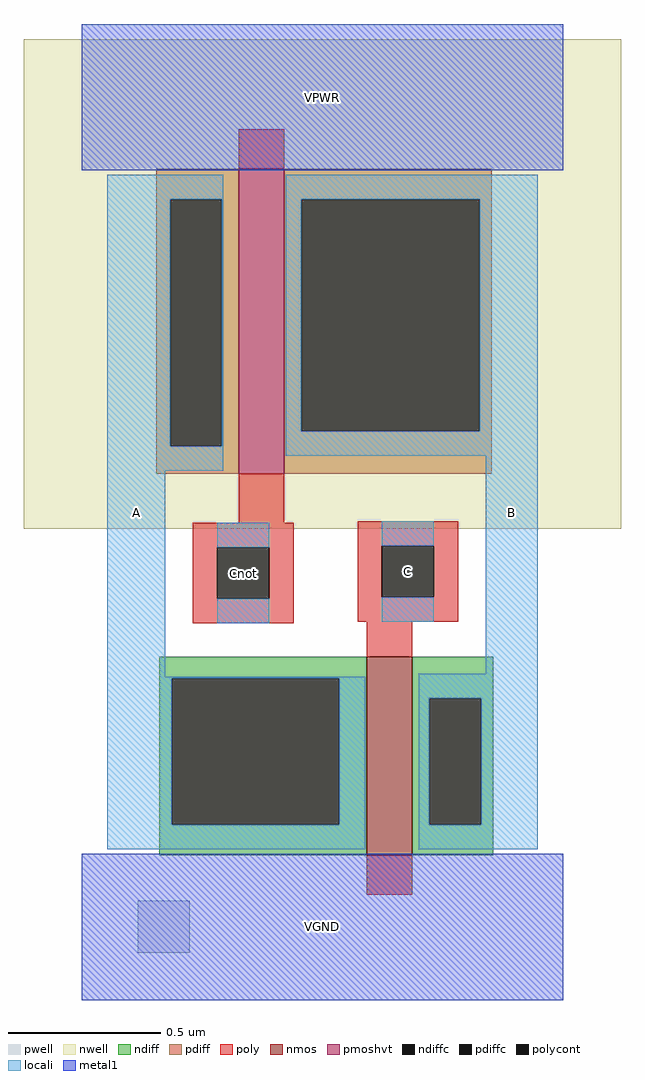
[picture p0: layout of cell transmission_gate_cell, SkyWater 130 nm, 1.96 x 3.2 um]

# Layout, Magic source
magic
tech sky130A
magscale 1 2
<< nwell >>
rect -60 261 332 582
<< pwell >>
rect 15 -17 49 17
<< nmos >>
rect 165 47 195 177
<< pmoshvt >>
rect 81 297 111 497
<< ndiff >>
rect 29 163 165 177
rect 29 67 37 163
rect 147 67 165 163
rect 29 47 165 67
rect 195 150 248 177
rect 195 67 206 150
rect 240 67 248 150
rect 195 47 248 67
<< pdiff >>
rect 27 477 81 497
rect 27 315 36 477
rect 70 315 81 477
rect 27 297 81 315
rect 111 477 247 497
rect 111 325 122 477
rect 239 325 247 477
rect 111 297 247 325
<< ndiffc >>
rect 37 67 147 163
rect 206 67 240 150
<< pdiffc >>
rect 36 315 70 477
rect 122 325 239 477
<< poly >>
rect 81 497 111 523
rect 81 265 111 297
rect 51 249 117 265
rect 51 215 67 249
rect 101 215 117 249
rect 51 199 117 215
rect 159 250 225 266
rect 159 216 175 250
rect 209 216 225 250
rect 159 200 225 216
rect 165 177 195 200
rect 165 21 195 47
<< polycont >>
rect 67 215 101 249
rect 175 216 209 250
<< locali >>
rect -5 477 71 493
rect -5 315 36 477
rect 70 315 71 477
rect -5 299 71 315
rect 112 477 277 493
rect 112 325 122 477
rect 239 325 277 477
rect 112 309 277 325
rect -5 164 33 299
rect 67 249 101 265
rect 67 199 101 215
rect 175 250 209 266
rect 175 200 209 216
rect 243 166 277 309
rect -5 163 164 164
rect -5 67 37 163
rect 147 67 164 163
rect -5 51 164 67
rect 199 150 277 166
rect 199 67 206 150
rect 240 67 277 150
rect 199 51 277 67
<< metal1 >>
rect -22 496 294 592
rect -22 -48 294 48
<< labels >>
rlabel polycont 67 215 101 249 1 Cnot
port 5 n signal input
rlabel locali -5 51 33 493 1 A
port 7 n signal bidirectional
rlabel locali 243 51 277 493 1 B
port 8 n signal bidirectional
rlabel metal1 -22 496 294 592 1 VPWR
port 9 n power bidirectional abutment
rlabel metal1 -22 -48 294 48 1 VGND
port 10 n ground bidirectional abutment
rlabel polycont 175 216 209 250 1 C
port 6 n signal input
<< properties >>
string LEFsite unithd
string LEFclass CORE
string FIXED_BBOX -22 0 294 544
string LEFsymmetry X Y R90
string LEFsource user
<< end >>
